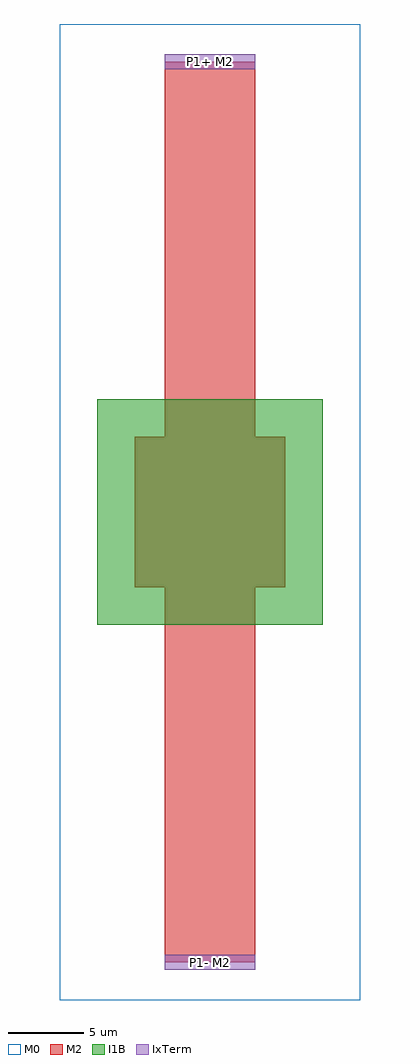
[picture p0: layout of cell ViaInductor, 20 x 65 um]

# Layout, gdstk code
import gdstk
lib = gdstk.Library(unit=1e-6, precision=1e-09)
def R(c, l, rs):  # rectangles x0, y0, x1, y1
    for r in rs: c.add(gdstk.rectangle(r[:2], r[2:], *l))
I1B = (3, 0)
M2 = (6, 0)
M0 = (30, 0)
IxTerm = (63, 0)

viainductor = lib.new_cell('ViaInductor')
R(viainductor, I1B, [(-7.5,-7.5,7.5,7.5)])
R(viainductor, M2, [(-5,-5,5,5)])
R(viainductor, M0, [(-10,-32.5,10,32.5)])
R(viainductor, IxTerm, [(-3,-30.5,3,-29.5), (-3,29.5,3,30.5)])
viainductor.add(gdstk.FlexPath([(0,-30),(0,0)], 6, ends="flush", simple_path=True, layer=6, datatype=0))  # M2
viainductor.add(gdstk.FlexPath([(0,30),(0,-5)], 6, ends="flush", simple_path=True, layer=6, datatype=0))  # M2
viainductor.add(gdstk.Label('P1- M2', (0,-30), layer=64, texttype=0))
viainductor.add(gdstk.Label('P1+ M2', (0,30), layer=64, texttype=0))

lib.write_gds('ViaInductor.gds')
